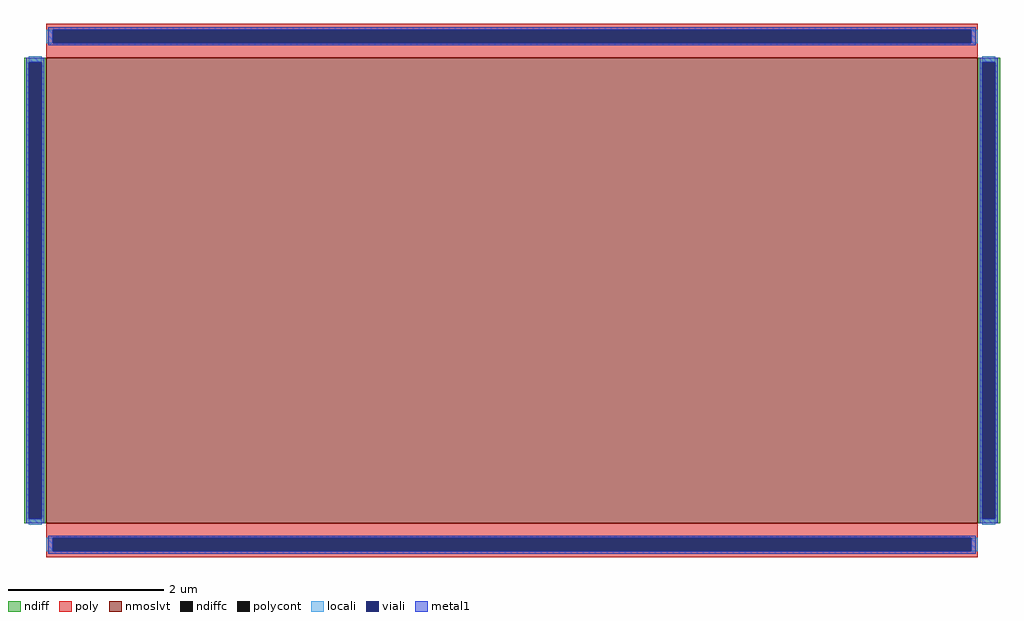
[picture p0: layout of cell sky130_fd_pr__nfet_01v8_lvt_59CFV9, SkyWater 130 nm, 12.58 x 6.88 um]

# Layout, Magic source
magic
tech sky130A
<< nmoslvt >>
rect -600 -300 600 300
<< ndiff >>
rect -629 294 -600 300
rect -629 -294 -623 294
rect -606 -294 -600 294
rect -629 -300 -600 -294
rect 600 294 629 300
rect 600 -294 606 294
rect 623 -294 629 294
rect 600 -300 629 -294
<< ndiffc >>
rect -623 -294 -606 294
rect 606 -294 623 294
<< poly >>
rect -600 336 600 344
rect -600 319 -592 336
rect 592 319 600 336
rect -600 300 600 319
rect -600 -319 600 -300
rect -600 -336 -592 -319
rect 592 -336 600 -319
rect -600 -344 600 -336
<< polycont >>
rect -592 319 592 336
rect -592 -336 592 -319
<< locali >>
rect -600 319 -592 336
rect 592 319 600 336
rect -623 294 -606 302
rect -623 -302 -606 -294
rect 606 294 623 302
rect 606 -302 623 -294
rect -600 -336 -592 -319
rect 592 -336 600 -319
<< viali >>
rect -592 319 592 336
rect -623 -294 -606 294
rect 606 -294 623 294
rect -592 -336 592 -319
<< metal1 >>
rect -598 336 598 339
rect -598 319 -592 336
rect 592 319 598 336
rect -598 316 598 319
rect -626 294 -603 300
rect -626 -294 -623 294
rect -606 -294 -603 294
rect -626 -300 -603 -294
rect 603 294 626 300
rect 603 -294 606 294
rect 623 -294 626 294
rect 603 -300 626 -294
rect -598 -319 598 -316
rect -598 -336 -592 -319
rect 592 -336 598 -319
rect -598 -339 598 -336
<< properties >>
string gencell sky130_fd_pr__nfet_01v8_lvt
string library sky130
string parameters w 6.0 l 12.0 m 1 nf 1 diffcov 100 polycov 100 guard 0 glc 1 grc 1 gtc 1 gbc 1 tbcov 100 rlcov 100 topc 1 botc 1 poverlap 0 doverlap 1 lmin 0.15 wmin 0.42 class mosfet compatible {sky130_fd_pr__nfet_01v8 sky130_fd_pr__nfet_01v8_lvt  sky130_fd_bs_flash__special_sonosfet_star  sky130_fd_pr__nfet_g5v0d10v5 sky130_fd_pr__nfet_05v0_nvt  sky130_fd_pr__nfet_03v3_nvt} full_metal 1 viasrc 100 viadrn 100 viagate 100 viagb 0 viagr 0 viagl 0 viagt 0
<< end >>
